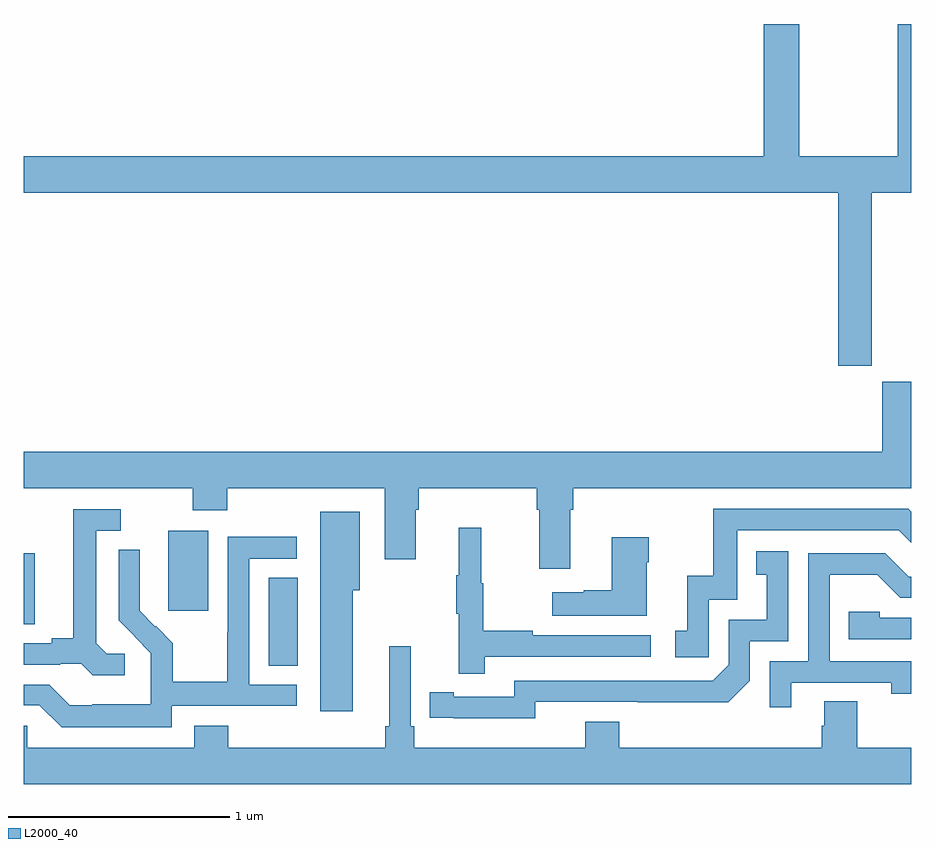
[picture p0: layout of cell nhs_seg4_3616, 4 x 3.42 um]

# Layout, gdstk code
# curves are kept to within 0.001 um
import gdstk
lib = gdstk.Library(unit=1e-6, precision=1e-09)
def R(c, l, rs):  # rectangles x0, y0, x1, y1
    for r in rs: c.add(gdstk.rectangle(r[:2], r[2:], *l))
def P(c, l, *ps):  # polygons
    for p in ps: c.add(gdstk.Polygon(p, *l))
L2000_40 = (2000, 40)

nhs_seg4_3616 = lib.new_cell('nhs_seg4_3616')
R(nhs_seg4_3616, L2000_40, [(302.105,808.009,302.236,808.406), (301,808.195,301.051,808.515), (301.652,808.257,301.831,808.618)])
P(nhs_seg4_3616, L2000_40, [(304.822,810.14),(305,810.14),(305,810.9),(304.939,810.9),(304.939,810.304),(304.494,810.304),(304.494,810.9),(304.334,810.9),(304.334,810.304),(301,810.304),(301,810.14),(304.67,810.14),(304.67,809.361),(304.822,809.361)],
  [(303.463,808.712),(303.476,808.712),(303.476,808.808),(305,808.808),(305,809.289),(304.868,809.289),(304.868,808.972),(301,808.972),(301,808.808),(301.762,808.808),(301.762,808.709),(301.917,808.709),(301.917,808.808),(302.627,808.808),(302.627,808.488),(302.767,808.488),(302.767,808.712),(302.78,808.712),(302.78,808.808),(303.311,808.808),(303.311,808.712),(303.323,808.712),(303.323,808.446),(303.463,808.446)],
  [(304.086,808.305),(304.215,808.305),(304.215,808.62),(304.944,808.62),(305,808.564),(305,808.702),(304.986,808.716),(304.107,808.716),(304.107,808.414),(303.989,808.414),(303.989,808.167),(303.936,808.167),(303.936,808.047),(304.086,808.047)],
  [(301.456,808.062),(301.374,808.062),(301.327,808.109),(301.327,808.617),(301.438,808.617),(301.438,808.713),(301.223,808.713),(301.223,808.133),(301.127,808.133),(301.127,808.11),(301,808.11),(301,808.014),(301.166,808.014),(301.166,808.017),(301.26,808.017),(301.312,807.965),(301.456,807.965)],
  [(302.482,808.349),(302.515,808.349),(302.515,808.702),(302.336,808.702),(302.336,807.804),(302.482,807.804)],
  [(303.077,808.05),(303.826,808.05),(303.826,808.146),(303.293,808.146),(303.293,808.166),(303.07,808.166),(303.07,808.38),(303.062,808.38),(303.062,808.63),(302.96,808.63),(302.96,808.417),(302.949,808.417),(302.949,808.243),(302.96,808.243),(302.96,807.972),(303.077,807.972)],
  [(301.668,807.828),(302.23,807.828),(302.23,807.924),(302.016,807.924),(302.016,808.491),(302.23,808.491),(302.23,808.59),(301.92,808.59),(301.92,808.16),(301.918,808.16),(301.918,807.937),(301.673,807.937),(301.673,808.111),(301.596,808.188),(301.593,808.185),(301.523,808.256),(301.524,808.532),(301.428,808.532),(301.428,808.214),(301.574,808.066),(301.574,807.969),(301.572,807.969),(301.572,807.835),(301.309,807.835),(301.309,807.831),(301.209,807.831),(301.116,807.924),(301,807.924),(301,807.831),(301.071,807.831),(301.171,807.731),(301.668,807.731)],
  [(303.808,808.475),(303.816,808.475),(303.816,808.588),(303.65,808.588),(303.65,808.349),(303.524,808.349),(303.524,808.339),(303.381,808.339),(303.381,808.235),(303.808,808.235)],
  [(303.306,807.846),(304.174,807.845),(304.272,807.942),(304.272,808.119),(304.446,808.119),(304.446,808.525),(304.3,808.525),(304.3,808.419),(304.349,808.419),(304.349,808.215),(304.176,808.215),(304.176,808.014),(304.104,807.942),(303.21,807.942),(303.21,807.87),(302.938,807.87),(302.938,807.89),(302.83,807.89),(302.83,807.774),(303.306,807.773)],
  [(304.459,807.933),(304.91,807.933),(304.91,807.882),(305,807.882),(305,808.029),(304.632,808.029),(304.632,808.418),(304.846,808.418),(304.95,808.314),(305,808.314),(305,808.41),(304.987,808.41),(304.882,808.515),(304.536,808.515),(304.536,808.029),(304.362,808.029),(304.362,807.822),(304.459,807.822)],
  [(305,808.224),(304.857,808.224),(304.857,808.251),(304.717,808.251),(304.717,808.128),(305,808.128)],
  [(301.769,807.739),(301.769,807.64),(301.017,807.64),(301.017,807.738),(301,807.738),(301,807.476),(305,807.476),(305,807.64),(304.755,807.64),(304.755,807.848),(304.607,807.848),(304.607,807.738),(304.595,807.738),(304.595,807.64),(303.683,807.64),(303.683,807.757),(303.53,807.757),(303.53,807.64),(302.759,807.64),(302.759,807.736),(302.745,807.736),(302.745,808.096),(302.648,808.096),(302.648,807.736),(302.629,807.736),(302.629,807.64),(301.922,807.64),(301.922,807.739)])

lib.write_gds('nhs_seg4_3616.gds')
